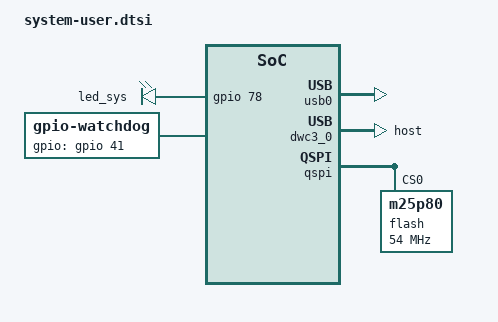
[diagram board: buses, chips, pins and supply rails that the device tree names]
/include/ "system-conf.dtsi"
/include/ "pl-custom.dtsi"
/ {
	chosen {
		bootargs = "earlycon console=ttyPS0,115200 clk_ignore_unused cpuidle.off=1 root=/dev/mmcblk1p2 rw rootwait xilinx-video.is_mplane=0 cma=1024M";
		stdout-path = "serial0:115200n8";
	};
    aliases {
		serial0 = &uart0;
	};
    leds {
        compatible = "gpio-leds";
        led0 {
            label = "led_sys";
            gpios = <&gpio 78 0>;
            linux,default-trigger = "heartbeat";
        };
        // rs485_de {
        //     label = "rs485_de";
        //     gpios = <&axi_gpio_0 0 0 0>;
        //     linux,default-trigger = "gpio";
        // };
    };

    watchdog {
        compatible = "gpio-watchdog";
        device_type = "watchdog";
		gpios = <&gpio 41 0x0>;
		timeout-ms = <400>;
    };

};

#include <dt-bindings/media/xilinx-vip.h>

// &amba {
//     vcap {
//         compatible = "xlnx,video";
//         // xlnx,num-fstores = <0x3>;
//         dmas = <&axi_vdma_0 1>;
//         dma-names = "port0";

//         ports {
//             #address-cells = <1>;
//             #size-cells = <0>;

//             port@0 {
//                 reg = <0>;
//                 direction = "input";
//                 vcap_in: endpoint {
//                     remote-endpoint = <&cam_out>;
//                 };

//             };
//         };
//     };
// };

// &i2c0 {
//     ar0230@1b {
//         compatible = "myir,ar0230";
//         status = "okay";
//         reg = <0x1b>;
//         enable-gpio = <&gpio 80 1>;

//         ports {
//             #address-cells = <1>;
//             #size-cells = <0>;

//             port@0 {
//                 reg = <0>;
//                 xlnx,video-format = <XVIP_VF_RBG>;
//                 xlnx,video-width = <8>;
//                 cam_out: endpoint {
//                     remote-endpoint = <&vcap_in>;
//                     clock-lanes = <0>;
//                     data-lanes = <1 2>;
//                 };
//             };
//         };
//     };
// };

&sdhci1 {
    disable-wp;
    no-1-8-v;
};

&usb0 {
    status = "okay";
};

&dwc3_0 {
    status = "okay";
    dr_mode = "host";
};

&qspi {
    flash@0 {
		compatible = "m25p80";
		#address-cells = <1>;
		#size-cells = <1>;
		reg = <0x0>;
		spi-tx-bus-width = <1>;
		spi-rx-bus-width = <4>; 
		/* spi-max-frequency = <108000000>; */
		spi-max-frequency = <54000000>; 
    };
};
